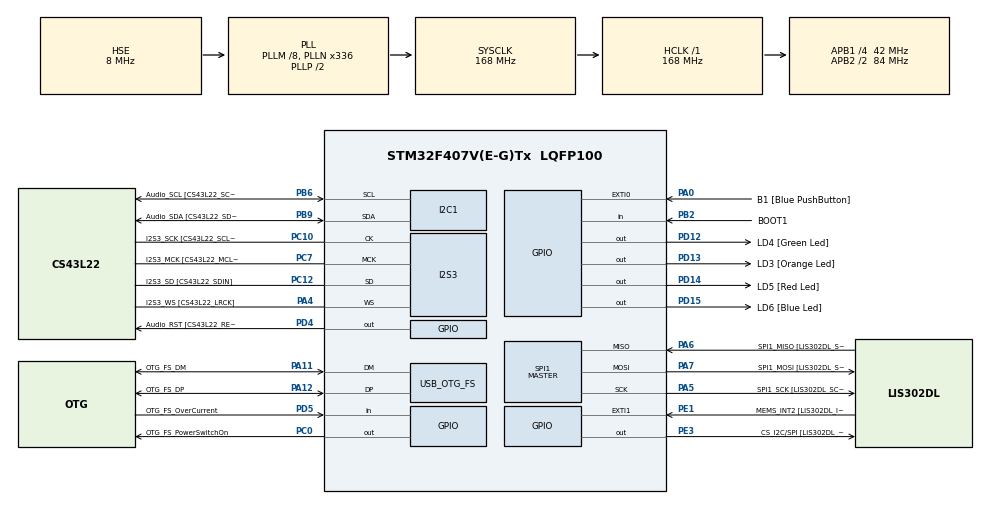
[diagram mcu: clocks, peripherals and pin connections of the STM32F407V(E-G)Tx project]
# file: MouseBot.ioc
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I2S3.AudioFreq-Half_Duplex_Master=I2S_AUDIOFREQ_96K
I2S3.ErrorAudioFreq=-2.34 %
I2S3.ErrorAudioFreq-Half_Duplex_Master=0.8 %
I2S3.FullDuplexMode=I2S_FULLDUPLEXMODE_DISABLE
I2S3.Instance=SPI$Index
I2S3.RealAudioFreq=93.75 KHz
I2S3.RealAudioFreq-Half_Duplex_Master=96.774 KHz
I2S3.VirtualMode=I2S_MODE_MASTER
Mcu.Family=STM32F4
Mcu.Name=STM32F407V(E-G)Tx
Mcu.Package=LQFP100
NVIC.OTG_FS_IRQn=true\:0\:0\:false\:false\:true\:true\:true
NVIC.PriorityGroup=NVIC_PRIORITYGROUP_0
PA0-WKUP.GPIO_Label=B1 [Blue PushButton]
PA0-WKUP.GPIO_ModeDefaultEXTI=GPIO_MODE_EVT_RISING
PA0-WKUP.GPIO_PuPd=GPIO_NOPULL
PA0-WKUP.Signal=GPXTI0
PA10.GPIO_Label=OTG_FS_ID
PA10.GPIO_Mode=GPIO_MODE_AF_PP
PA10.GPIO_PuPd=GPIO_NOPULL
PA10.GPIO_Speed=GPIO_SPEED_FREQ_LOW
PA10.Signal=USB_OTG_FS_ID
PA11.GPIO_Label=OTG_FS_DM
PA11.GPIO_Mode=GPIO_MODE_AF_PP
PA11.GPIO_PuPd=GPIO_NOPULL
PA11.GPIO_Speed=GPIO_SPEED_FREQ_LOW
PA11.Mode=Device_Only
PA11.Signal=USB_OTG_FS_DM
PA12.GPIO_Label=OTG_FS_DP
PA12.GPIO_Mode=GPIO_MODE_AF_PP
PA12.GPIO_PuPd=GPIO_NOPULL
PA12.GPIO_Speed=GPIO_SPEED_FREQ_LOW
PA12.Mode=Device_Only
PA12.Signal=USB_OTG_FS_DP
PA13.GPIO_Label=SWDIO
PA13.Mode=Serial_Wire
PA13.Signal=SYS_JTMS-SWDIO
PA14.GPIO_Label=SWCLK
PA14.Mode=Serial_Wire
PA14.Signal=SYS_JTCK-SWCLK
PA4.GPIO_Label=I2S3_WS [CS43L22_LRCK]
PA4.GPIO_Mode=GPIO_MODE_AF_PP
PA4.GPIO_PuPd=GPIO_NOPULL
PA4.GPIO_Speed=GPIO_SPEED_FREQ_LOW
PA4.Mode=Half_Duplex_Master
PA4.Signal=I2S3_WS
PA5.GPIO_Label=SPI1_SCK [LIS302DL_SCL/SPC]
PA5.GPIO_Mode=GPIO_MODE_AF_PP
PA5.GPIO_PuPd=GPIO_NOPULL
PA5.GPIO_Speed=GPIO_SPEED_FREQ_LOW
PA5.Mode=Full_Duplex_Master
PA5.Signal=SPI1_SCK
PA6.GPIO_Label=SPI1_MISO [LIS302DL_SDO]
PA6.GPIO_Mode=GPIO_MODE_AF_PP
PA6.GPIO_PuPd=GPIO_NOPULL
PA6.GPIO_Speed=GPIO_SPEED_FREQ_LOW
PA6.Mode=Full_Duplex_Master
PA6.Signal=SPI1_MISO
PA7.GPIO_Label=SPI1_MOSI [LIS302DL_SDA/SDI/SDO]
PA7.GPIO_Mode=GPIO_MODE_AF_PP
PA7.GPIO_PuPd=GPIO_NOPULL
PA7.GPIO_Speed=GPIO_SPEED_FREQ_LOW
PA7.Mode=Full_Duplex_Master
PA7.Signal=SPI1_MOSI
PA9.GPIO_Label=VBUS_FS
PA9.GPIO_Mode=GPIO_MODE_INPUT
PA9.GPIO_PuPd=GPIO_NOPULL
PA9.Signal=USB_OTG_FS_VBUS
PB10.GPIO_Label=CLK_IN [MP45DT02_CLK]
PB10.GPIO_Mode=GPIO_MODE_AF_PP
PB10.GPIO_PuPd=GPIO_NOPULL
PB10.GPIO_Speed=GPIO_SPEED_FREQ_LOW
PB10.Signal=I2S2_CK
PB2.GPIO_Label=BOOT1
PB2.GPIO_Mode=GPIO_MODE_INPUT
PB2.GPIO_PuPd=GPIO_NOPULL
PB2.Signal=GPIO_Input
PB3.GPIO_Label=SWO
PB3.Signal=SYS_JTDO-SWO
PB6.GPIO_Label=Audio_SCL [CS43L22_SCL]
PB6.GPIO_Mode=GPIO_MODE_AF_OD
PB6.GPIO_PuPd=GPIO_NOPULL
PB6.GPIO_Speed=GPIO_SPEED_FREQ_LOW
PB6.Mode=I2C
PB6.Signal=I2C1_SCL
PB9.GPIO_Label=Audio_SDA [CS43L22_SDA]
PB9.GPIO_Mode=GPIO_MODE_AF_OD
PB9.GPIO_PuPd=GPIO_NOPULL
PB9.GPIO_Speed=GPIO_SPEED_FREQ_LOW
PB9.Mode=I2C
PB9.Signal=I2C1_SDA
PC0.GPIO_Label=OTG_FS_PowerSwitchOn
PC0.GPIO_PuPd=GPIO_NOPULL
PC0.GPIO_Speed=GPIO_SPEED_FREQ_LOW
PC0.PinState=GPIO_PIN_SET
PC0.Signal=GPIO_Output
PC10.GPIO_Label=I2S3_SCK [CS43L22_SCLK]
PC10.GPIO_Mode=GPIO_MODE_AF_PP
PC10.GPIO_PuPd=GPIO_NOPULL
PC10.GPIO_Speed=GPIO_SPEED_FREQ_LOW
PC10.Mode=Half_Duplex_Master
PC10.Signal=I2S3_CK
PC12.GPIO_Label=I2S3_SD [CS43L22_SDIN]
PC12.GPIO_Mode=GPIO_MODE_AF_PP
PC12.GPIO_PuPd=GPIO_NOPULL
PC12.GPIO_Speed=GPIO_SPEED_FREQ_LOW
PC12.Mode=Half_Duplex_Master
PC12.Signal=I2S3_SD
PC14-OSC32_IN.GPIO_Label=PC14-OSC32_IN
PC14-OSC32_IN.Mode=LSE-External-Oscillator
PC14-OSC32_IN.Signal=RCC_OSC32_IN
PC15-OSC32_OUT.GPIO_Label=PC15-OSC32_OUT
PC15-OSC32_OUT.Mode=LSE-External-Oscillator
PC15-OSC32_OUT.Signal=RCC_OSC32_OUT
PC3.GPIO_Label=PDM_OUT [MP45DT02_DOUT]
PC3.GPIO_Mode=GPIO_MODE_AF_PP
PC3.GPIO_PuPd=GPIO_NOPULL
PC3.GPIO_Speed=GPIO_SPEED_FREQ_LOW
PC3.Signal=I2S2_SD
PC7.GPIO_Label=I2S3_MCK [CS43L22_MCLK]
PC7.GPIO_Mode=GPIO_MODE_AF_PP
PC7.GPIO_PuPd=GPIO_NOPULL
PC7.GPIO_Speed=GPIO_SPEED_FREQ_LOW
PC7.Mode=Master_Clock_Activated
PC7.Signal=I2S3_MCK
PD12.GPIO_Label=LD4 [Green Led]
PD12.GPIO_PuPd=GPIO_NOPULL
PD12.GPIO_Speed=GPIO_SPEED_FREQ_LOW
PD12.Signal=GPIO_Output
PD13.GPIO_Label=LD3 [Orange Led]
PD13.GPIO_PuPd=GPIO_NOPULL
PD13.GPIO_Speed=GPIO_SPEED_FREQ_LOW
PD13.Signal=GPIO_Output
PD14.GPIO_Label=LD5 [Red Led]
PD14.GPIO_PuPd=GPIO_NOPULL
PD14.GPIO_Speed=GPIO_SPEED_FREQ_LOW
PD14.Signal=GPIO_Output
PD15.GPIO_Label=LD6 [Blue Led]
PD15.GPIO_PuPd=GPIO_NOPULL
PD15.GPIO_Speed=GPIO_SPEED_FREQ_LOW
PD15.Signal=GPIO_Output
PD4.GPIO_Label=Audio_RST [CS43L22_RESET]
PD4.GPIO_PuPd=GPIO_NOPULL
PD4.GPIO_Speed=GPIO_SPEED_FREQ_LOW
PD4.Signal=GPIO_Output
PD5.GPIO_Label=OTG_FS_OverCurrent
PD5.GPIO_Mode=GPIO_MODE_INPUT
PD5.GPIO_PuPd=GPIO_NOPULL
PD5.Signal=GPIO_Input
PE1.GPIO_Label=MEMS_INT2 [LIS302DL_INT2]
PE1.GPIO_ModeDefaultEXTI=GPIO_MODE_EVT_RISING
PE1.GPIO_PuPd=GPIO_NOPULL
PE1.Signal=GPXTI1
PE3.GPIO_Label=CS_I2C/SPI [LIS302DL_CS_I2C/SPI]
PE3.GPIO_PuPd=GPIO_NOPULL
PE3.GPIO_Speed=GPIO_SPEED_FREQ_LOW
PE3.Signal=GPIO_Output
PH0-OSC_IN.GPIO_Label=PH0-OSC_IN
PH0-OSC_IN.Mode=HSE-External-Oscillator
PH0-OSC_IN.Signal=RCC_OSC_IN
PH1-OSC_OUT.GPIO_Label=PH1-OSC_OUT
PH1-OSC_OUT.Mode=HSE-External-Oscillator
PH1-OSC_OUT.Signal=RCC_OSC_OUT
ProjectManager.HeapSize=0x200
ProjectManager.StackSize=0x400
ProjectManager.TargetToolchain=STM32CubeIDE
RCC.48MHZClocksFreq_Value=48000000
RCC.AHBFreq_Value=168000000
RCC.APB1CLKDivider=RCC_HCLK_DIV4
RCC.APB1Freq_Value=42000000
RCC.APB1TimFreq_Value=84000000
RCC.APB2CLKDivider=RCC_HCLK_DIV2
RCC.APB2Freq_Value=84000000
RCC.APB2TimFreq_Value=168000000
RCC.CortexFreq_Value=168000000
RCC.HCLKFreq_Value=168000000
RCC.HSE_VALUE=8000000
RCC.HSI_VALUE=16000000
RCC.PLLM=8
RCC.PLLN=336
RCC.PLLQ=7
RCC.SYSCLKFreq_VALUE=168000000
RCC.SYSCLKSource=RCC_SYSCLKSOURCE_PLLCLK
RCC.VCOOutputFreq_Value=336000000
SPI1.BaudRatePrescaler-Full_Duplex_Master=SPI_BAUDRATEPRESCALER_2
SPI1.CalculateBaudRate-Full_Duplex_Master=42.0 MBits/s
SPI1.Direction=SPI_DIRECTION_2LINES
SPI1.Mode=SPI_MODE_MASTER
SPI1.Mode-Full_Duplex_Master=SPI_MODE_MASTER
SPI1.VirtualType=VM_MASTER
USB_DEVICE.CLASS_NAME_FS=HID
USB_DEVICE.PRODUCT_STRING_HID_FS=STM32 Mouse
USB_DEVICE.VirtualMode-HID_FS=Hid
USB_DEVICE.VirtualModeFS=Hid_FS
USB_OTG_FS.VirtualMode=Device_Only
USB_OTG_FS.low_power_enable=DISABLE
USB_OTG_FS.lpm_enable=DISABLE
VP_USB_DEVICE_VS_USB_DEVICE_HID_FS.Mode=HID_FS
board=STM32F407G-DISC1

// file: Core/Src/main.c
/* USER CODE BEGIN Header */
/**
  ******************************************************************************
  * @file           : main.c
  * @brief          : Main program body
  ******************************************************************************
  * @attention
  *
  * <h2><center>&copy; Copyright (c) 2022 STMicroelectronics.
  * All rights reserved.</center></h2>
  *
  * This software component is licensed by ST under Ultimate Liberty license
  * SLA0044, the "License"; You may not use this file except in compliance with
  * the License. You may obtain a copy of the License at:
  *                             www.st.com/SLA0044
  *
  ******************************************************************************
  */
/* USER CODE END Header */

#include "main.h"
#include "i2c.h"
#include "i2s.h"
#include "spi.h"
#include "usb_device.h"
#include "gpio.h"

/* USER CODE BEGIN PTD */
extern USBD_HandleTypeDef hUsbDeviceFS;
/* USER CODE END PTD */

/* USER CODE BEGIN PV */
struct mouseHID_t {
      uint8_t buttons;
      int8_t x;
      int8_t y;
      int8_t wheel;
  };
/* USER CODE END PV */

void SystemClock_Config(void);

int main(void)
{
  /* USER CODE BEGIN 1 */
    struct mouseHID_t mouseHID;
  /* USER CODE END 1 */

  /* MCU Configuration--------------------------------------------------------*/

  /* Reset of all peripherals, Initializes the Flash interface and the Systick. */
  HAL_Init();

  /* Configure the system clock */
  SystemClock_Config();

  /* Initialize all configured peripherals */
  MX_GPIO_Init();
  MX_I2C1_Init();
  MX_I2S3_Init();
  MX_SPI1_Init();
  MX_USB_DEVICE_Init();
  /* USER CODE BEGIN 2 */
  mouseHID.y = 0;
  /* USER CODE END 2 */

  /* Infinite loop */
  /* USER CODE BEGIN WHILE */
  while (1)
  {
      mouseHID.x = 20;
      USBD_HID_SendReport(&hUsbDeviceFS, &mouseHID, sizeof(struct mouseHID_t));
      HAL_Delay(1000);

      mouseHID.x = -20;
      USBD_HID_SendReport(&hUsbDeviceFS, &mouseHID, sizeof(struct mouseHID_t));
      HAL_Delay(1000);

    /* USER CODE END WHILE */

  }
}

void SystemClock_Config(void)
{
  RCC_OscInitTypeDef RCC_OscInitStruct = {0};
  RCC_ClkInitTypeDef RCC_ClkInitStruct = {0};
  RCC_PeriphCLKInitTypeDef PeriphClkInitStruct = {0};

  /** Configure the main internal regulator output voltage
  */
  __HAL_RCC_PWR_CLK_ENABLE();
  __HAL_PWR_VOLTAGESCALING_CONFIG(PWR_REGULATOR_VOLTAGE_SCALE1);
  /** Initializes the CPU, AHB and APB busses clocks
  */
  RCC_OscInitStruct.OscillatorType = RCC_OSCILLATORTYPE_HSE;
  RCC_OscInitStruct.HSEState = RCC_HSE_ON;
  RCC_OscInitStruct.PLL.PLLState = RCC_PLL_ON;
  RCC_OscInitStruct.PLL.PLLSource = RCC_PLLSOURCE_HSE;
  RCC_OscInitStruct.PLL.PLLM = 8;
  RCC_OscInitStruct.PLL.PLLN = 336;
  RCC_OscInitStruct.PLL.PLLP = RCC_PLLP_DIV2;
  RCC_OscInitStruct.PLL.PLLQ = 7;
  if (HAL_RCC_OscConfig(&RCC_OscInitStruct) != HAL_OK)
  {
    Error_Handler();
  }
  /** Initializes the CPU, AHB and APB busses clocks
  */
  RCC_ClkInitStruct.ClockType = RCC_CLOCKTYPE_HCLK|RCC_CLOCKTYPE_SYSCLK
                              |RCC_CLOCKTYPE_PCLK1|RCC_CLOCKTYPE_PCLK2;
  RCC_ClkInitStruct.SYSCLKSource = RCC_SYSCLKSOURCE_PLLCLK;
  RCC_ClkInitStruct.AHBCLKDivider = RCC_SYSCLK_DIV1;
  RCC_ClkInitStruct.APB1CLKDivider = RCC_HCLK_DIV4;
  RCC_ClkInitStruct.APB2CLKDivider = RCC_HCLK_DIV2;

  if (HAL_RCC_ClockConfig(&RCC_ClkInitStruct, FLASH_LATENCY_5) != HAL_OK)
  {
    Error_Handler();
  }
  PeriphClkInitStruct.PeriphClockSelection = RCC_PERIPHCLK_I2S;
  PeriphClkInitStruct.PLLI2S.PLLI2SN = 192;
  PeriphClkInitStruct.PLLI2S.PLLI2SR = 2;
  if (HAL_RCCEx_PeriphCLKConfig(&PeriphClkInitStruct) != HAL_OK)
  {
    Error_Handler();
  }
}

void Error_Handler(void)
{
}

/************************ (C) COPYRIGHT STMicroelectronics *****END OF FILE****/
